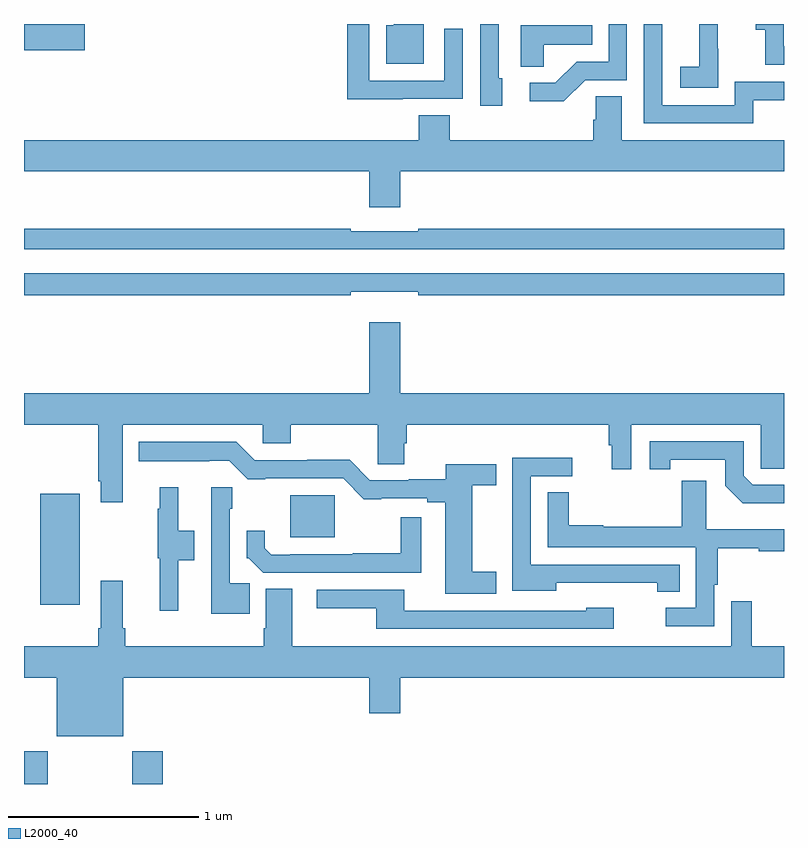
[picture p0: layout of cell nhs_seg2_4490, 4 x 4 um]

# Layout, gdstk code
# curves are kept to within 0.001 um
import gdstk
lib = gdstk.Library(unit=1e-6, precision=1e-09)
def R(c, l, rs):  # rectangles x0, y0, x1, y1
    for r in rs: c.add(gdstk.rectangle(r[:2], r[2:], *l))
def P(c, l, *ps):  # polygons
    for p in ps: c.add(gdstk.Polygon(p, *l))
L2000_40 = (2000, 40)

nhs_seg2_4490 = lib.new_cell('nhs_seg2_4490')
R(nhs_seg2_4490, L2000_40, [(355,589.8,355.125,589.972), (355.57,589.8,355.73,589.972), (355.085,590.744,355.294,591.328), (356.402,591.098,356.635,591.319), (355,593.662,355.321,593.8)])
P(nhs_seg2_4490, L2000_40, [(356.993,593.406),(357.309,593.406),(357.309,593.776),(357.213,593.776),(357.213,593.502),(356.817,593.502),(356.817,593.8),(356.701,593.8),(356.701,593.405),(356.993,593.405)],
  [(357.103,593.8),(356.945,593.8),(356.945,593.794),(356.906,593.794),(356.906,593.591),(357.103,593.591)],
  [(357.954,593.505),(358.173,593.505),(358.173,593.8),(358.077,593.8),(358.077,593.601),(357.908,593.601),(357.797,593.49),(357.663,593.49),(357.663,593.393),(357.841,593.393)],
  [(359,593.682),(358.998,593.682),(358.998,593.8),(358.851,593.8),(358.851,593.771),(358.9,593.771),(358.9,593.586),(359,593.586)],
  [(358.653,593.671),(358.652,593.671),(358.652,593.8),(358.553,593.8),(358.553,593.575),(358.455,593.575),(358.455,593.465),(358.653,593.465)],
  [(358.837,593.4),(359,593.4),(359,593.496),(358.74,593.496),(358.74,593.373),(358.359,593.373),(358.359,593.8),(358.263,593.8),(358.263,593.277),(358.837,593.277)],
  [(357.517,593.514),(357.498,593.514),(357.498,593.8),(357.402,593.8),(357.402,593.37),(357.517,593.37)],
  [(357.735,593.69),(357.992,593.69),(357.992,593.794),(357.614,593.794),(357.614,593.575),(357.735,593.575)],
  [(356.98,593.024),(359,593.024),(359,593.188),(358.147,593.188),(358.147,593.42),(358.008,593.42),(358.008,593.297),(357.995,593.297),(357.995,593.188),(357.242,593.188),(357.242,593.321),(357.077,593.321),(357.077,593.188),(355,593.188),(355,593.024),(356.816,593.024),(356.816,592.836),(356.98,592.836)],
  [(359,592.723),(357.076,592.723),(357.076,592.71),(356.72,592.71),(356.72,592.723),(355,592.723),(355,592.614),(359,592.614)],
  [(356.72,592.391),(357.076,592.391),(357.076,592.372),(359,592.372),(359,592.488),(355,592.488),(355,592.372),(356.72,592.372)],
  [(355.519,591.692),(356.256,591.692),(356.256,591.594),(356.403,591.594),(356.403,591.692),(356.862,591.692),(356.862,591.484),(357.001,591.484),(357.001,591.594),(357.014,591.594),(357.014,591.692),(358.077,591.692),(358.077,591.582),(358.094,591.582),(358.094,591.456),(358.195,591.456),(358.195,591.692),(358.878,591.692),(358.878,591.46),(359,591.46),(359,591.856),(356.98,591.856),(356.98,592.231),(356.816,592.231),(356.816,591.856),(355,591.856),(355,591.692),(355.391,591.692),(355.391,591.394),(355.403,591.394),(355.403,591.282),(355.519,591.282)],
  [(359,591.375),(358.836,591.375),(358.788,591.423),(358.788,591.603),(358.293,591.603),(358.293,591.456),(358.402,591.456),(358.402,591.507),(358.692,591.507),(358.692,591.369),(358.783,591.278),(359,591.278)],
  [(357.485,590.916),(357.358,590.916),(357.358,591.373),(357.485,591.373),(357.485,591.484),(357.221,591.484),(357.221,591.404),(357.024,591.404),(357.024,591.399),(356.82,591.399),(356.714,591.506),(356.491,591.506),(356.491,591.504),(356.214,591.504),(356.117,591.601),(355.604,591.601),(355.604,591.5),(356.079,591.501),(356.177,591.403),(356.269,591.403),(356.269,591.408),(356.679,591.408),(356.789,591.298),(356.881,591.298),(356.881,591.303),(357.122,591.303),(357.122,591.283),(357.218,591.283),(357.218,590.801),(357.485,590.801)],
  [(358.451,590.955),(357.666,590.955),(357.666,591.42),(357.886,591.42),(357.886,591.517),(357.57,591.517),(357.57,591.287),(357.569,591.287),(357.569,591.052),(357.57,591.052),(357.57,590.816),(357.802,590.816),(357.802,590.858),(358.333,590.858),(358.333,590.812),(358.451,590.812)],
  [(358.632,590.848),(358.652,590.848),(358.652,591.04),(358.866,591.04),(358.866,591.025),(359,591.025),(359,591.142),(358.591,591.142),(358.591,591.397),(358.463,591.397),(358.463,591.154),(358.049,591.154),(358.049,591.161),(357.868,591.161),(357.868,591.335),(357.756,591.335),(357.756,591.045),(358.536,591.045),(358.536,590.727),(358.377,590.727),(358.377,590.631),(358.632,590.631)],
  [(356.188,590.857),(356.082,590.857),(356.082,591.248),(356.095,591.248),(356.095,591.361),(355.986,591.361),(355.986,590.696),(356.188,590.696)],
  [(355.813,590.977),(355.897,590.977),(355.897,591.132),(355.813,591.132),(355.813,591.361),(355.715,591.361),(355.715,591.248),(355.704,591.248),(355.704,590.988),(355.715,590.988),(355.715,590.712),(355.813,590.712)],
  [(357.09,591.205),(356.982,591.205),(356.982,591.014),(356.731,591.014),(356.731,591.009),(356.401,591.009),(356.401,591.006),(356.302,591.006),(356.267,591.042),(356.267,591.133),(356.172,591.133),(356.172,590.988),(356.183,590.988),(356.258,590.913),(357.09,590.913)],
  [(355.522,590.36),(356.816,590.36),(356.816,590.172),(356.98,590.172),(356.98,590.36),(359,590.36),(359,590.524),(358.831,590.524),(358.831,590.761),(358.722,590.761),(358.722,590.524),(356.413,590.524),(356.413,590.828),(356.273,590.828),(356.273,590.62),(356.261,590.62),(356.261,590.524),(355.532,590.524),(355.532,590.62),(355.519,590.62),(355.519,590.869),(355.403,590.869),(355.403,590.62),(355.391,590.62),(355.391,590.524),(355,590.524),(355,590.36),(355.172,590.36),(355.172,590.051),(355.522,590.051)],
  [(358.105,590.728),(357.96,590.728),(357.96,590.712),(357.001,590.712),(357.001,590.823),(356.541,590.823),(356.541,590.726),(356.854,590.726),(356.854,590.616),(358.105,590.616)])

lib.write_gds('nhs_seg2_4490.gds')
